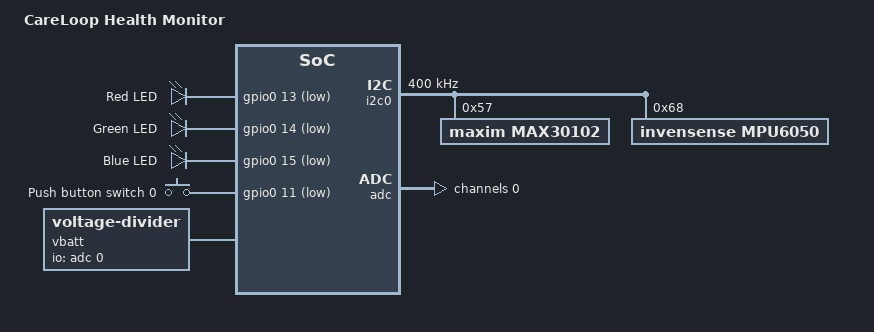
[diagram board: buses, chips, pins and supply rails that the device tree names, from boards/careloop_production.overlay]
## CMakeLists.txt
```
cmake_minimum_required(VERSION 3.20.0)

# Set the DTS root to include our custom bindings
set(DTS_ROOT ${CMAKE_CURRENT_SOURCE_DIR})

find_package(Zephyr REQUIRED HINTS $ENV{ZEPHYR_BASE})

project(CareLoop)

# Main application sources
target_sources(app PRIVATE 
    src/main.c
)

# ----------------------------------------
# HAL - Hardware Abstraction Layer sources
# ----------------------------------------

if(CONFIG_MPU6050)
    # Only build MPU6050 adapter and driver when enabled
    target_sources(app PRIVATE
        src/hal/sensor/hal_mpu6050.c
    )
endif()

if(CONFIG_MAX30102)
    # Only build MAX30102 adapter and driver when enabled
    target_sources(app PRIVATE 
        src/hal/sensor/hal_max30102.c
        src/drivers/sensor/max30102/max30102.c
    )
    target_include_directories(app PRIVATE src/drivers/sensor/max30102)
endif()

# Common HAL sources
target_sources(app PRIVATE
    src/hal/hal_sensor.c
)

# HAL include directories
target_include_directories(app PRIVATE 
    src/hal/include
)

# ----------------------------------------
# Business logic sources (C++)
# ----------------------------------------

target_sources(app PRIVATE src/business/heart_rate.cpp)
target_include_directories(app PRIVATE src/business/include)
```

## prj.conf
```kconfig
# Absolutely minimal CareLoop Configuration for NCS

# Only enable what's absolutely necessary
CONFIG_LOG=y
CONFIG_LOG_DEFAULT_LEVEL=3
CONFIG_CONSOLE=y
CONFIG_UART_CONSOLE=y
CONFIG_SERIAL=y

# Sensor subsystem
CONFIG_SENSOR=y
CONFIG_I2C=y

# MAX30102 Heart Rate Sensor
CONFIG_MAX30102=y

# MPU6050 Motion Sensor (Zephyr built-in driver)
CONFIG_MPU6050=y

# HAL Test Application (uncomment to test HAL)
# CONFIG_HAL_TEST=y

# Enable float formatting in logging (cbprintf) so %f works in LOG_*
CONFIG_CBPRINTF_FP_SUPPORT=y
```

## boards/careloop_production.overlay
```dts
/*
 * CareLoop Production Device Tree Overlay for NCS
 * Copyright (c) 2024 Nordic Semiconductor ASA
 * SPDX-License-Identifier: Apache-2.0
 */

/ {
    model = "CareLoop Health Monitor";
    
    aliases {
        led0 = &led0;  /* Red LED */
        led1 = &led1;  /* Green LED */
        led2 = &led2;  /* Blue LED */
        sw0 = &button0;
    };

    leds {
        compatible = "gpio-leds";
        led0: led_0 {
            gpios = <&gpio0 13 GPIO_ACTIVE_LOW>;
            label = "Red LED";
        };
        led1: led_1 {
            gpios = <&gpio0 14 GPIO_ACTIVE_LOW>;
            label = "Green LED";
        };
        led2: led_2 {
            gpios = <&gpio0 15 GPIO_ACTIVE_LOW>;
            label = "Blue LED";
        };
    };

    buttons {
        compatible = "gpio-keys";
        button0: button_0 {
            gpios = <&gpio0 11 (GPIO_PULL_UP | GPIO_ACTIVE_LOW)>;
            label = "Push button switch 0";
        };
    };

    /* Power supply configuration */
    vbatt {
        compatible = "voltage-divider";
        io-channels = <&adc 0>;
        output-ohms = <100000>;
        full-ohms = <(100000 + 100000)>;
    };
};

&i2c0 {
    compatible = "nordic,nrf-twi";
    status = "okay";
    clock-frequency = <I2C_BITRATE_FAST>;

    /* MAX30102 Heart Rate Sensor */
    max30102@57 {
        compatible = "maxim,max30102";
        reg = <0x57>;
        label = "MAX30102";
    };

    /* MPU6050 Accelerometer/Gyroscope */
    mpu6050@68 {
        compatible = "invensense,mpu6050";
        reg = <0x68>;
        label = "MPU6050";
    };
};

&adc {
    status = "okay";
    #address-cells = <1>;
    #size-cells = <0>;

    channel@0 {
        reg = <0>;
        zephyr,gain = "ADC_GAIN_1_6";
        zephyr,reference = "ADC_REF_INTERNAL";
        zephyr,acquisition-time = <ADC_ACQ_TIME_DEFAULT>;
        zephyr,input-positive = <NRF_SAADC_VDD>;
        zephyr,resolution = <12>;
    };
};
```

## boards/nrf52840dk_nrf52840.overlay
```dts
/*
 * CareLoop Production Device Tree Overlay for NCS
 * Copyright (c) 2024 Nordic Semiconductor ASA
 * SPDX-License-Identifier: Apache-2.0
 */

/ {
    model = "CareLoop Health Monitor";
    
    aliases {
        led0 = &led0;  /* Red LED */
        led1 = &led1;  /* Green LED */
        led2 = &led2;  /* Blue LED */
        sw0 = &button0;
    };

    leds {
        compatible = "gpio-leds";
        led0: led_0 {
            gpios = <&gpio0 13 GPIO_ACTIVE_LOW>;
            label = "Red LED";
        };
        led1: led_1 {
            gpios = <&gpio0 14 GPIO_ACTIVE_LOW>;
            label = "Green LED";
        };
        led2: led_2 {
            gpios = <&gpio0 15 GPIO_ACTIVE_LOW>;
            label = "Blue LED";
        };
    };

    buttons {
        compatible = "gpio-keys";
        button0: button_0 {
            gpios = <&gpio0 11 (GPIO_PULL_UP | GPIO_ACTIVE_LOW)>;
            label = "Push button switch 0";
        };
    };

    /* Power supply configuration */
    vbatt {
        compatible = "voltage-divider";
        io-channels = <&adc 0>;
        output-ohms = <100000>;
        full-ohms = <(100000 + 100000)>;
    };
};

&i2c0 {
    compatible = "nordic,nrf-twi";
    status = "okay";
    clock-frequency = <I2C_BITRATE_FAST>;

    /* MAX30102 Heart Rate Sensor */
    max30102: max30102@57 {
        compatible = "maxim,max30102";
        reg = <0x57>;
        label = "MAX30102";
        status = "okay";
        
        /* Driver configuration properties */
        sample-rate = <100>;        /* 100 Hz sampling */
        led-current-red = <63>;     /* 0x3F = ~27mA */
        led-current-ir = <63>;      /* 0x3F = ~27mA */
        adc-range = <4096>;         /* 4096 nA range */
        pulse-width = <411>;        /* 411 μs pulse width */
    };

    mpu6050: mpu6050@68 {
        compatible = "invensense,mpu6050";
        reg = <0x68>;
        status = "okay";
    };
};

&adc {
    status = "okay";
    #address-cells = <1>;
    #size-cells = <0>;

    channel@0 {
        reg = <0>;
        zephyr,gain = "ADC_GAIN_1_6";
        zephyr,reference = "ADC_REF_INTERNAL";
        zephyr,acquisition-time = <ADC_ACQ_TIME_DEFAULT>;
        zephyr,input-positive = <NRF_SAADC_VDD>;
        zephyr,resolution = <12>;
    };
};
```

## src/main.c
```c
/*
 * CareLoop - Minimal HAL Heart Rate Monitor
 * Copyright (c) 2024
 * SPDX-License-Identifier: Apache-2.0
 */

#include <zephyr/kernel.h>
#include <zephyr/logging/log.h>
#include <stdlib.h>
#include "hal_sensor.h"

/* Device-specific HAL adapters register via hal_sensor_system_init() */

/* MPU6050 now accessed via HAL (accel + gyro logical sensors) */

LOG_MODULE_REGISTER(careloop, LOG_LEVEL_INF);

static inline void log_vec_scaled(const char *tag, float mag, float x, float y, float z)
{
    int32_t mag_m = (int32_t)(mag * 1000.0f);
    int32_t x_m = (int32_t)(x * 1000.0f);
    int32_t y_m = (int32_t)(y * 1000.0f);
    int32_t z_m = (int32_t)(z * 1000.0f);
    LOG_INF("%s mag=%d.%03d x=%d.%03d y=%d.%03d z=%d.%03d",
            tag,
            (int)(mag_m / 1000), (int)abs(mag_m % 1000),
            (int)(x_m / 1000), (int)abs(x_m % 1000),
            (int)(y_m / 1000), (int)abs(y_m % 1000),
            (int)(z_m / 1000), (int)abs(z_m % 1000));
}

int main(void)
{
    LOG_INF("CareLoop HAL Heart Rate Monitor");
    
    hal_error_t ret;
    hal_sensor_t *hr_sensor;
    hal_sensor_t *accel_sensor;
    hal_sensor_t *gyro_sensor;
    hal_sensor_reading_t reading;
    
    /* Initialize sensor subsystem (register + init) */
    ret = hal_sensor_system_init();
    if (ret != HAL_OK) {
        LOG_ERR("Sensor system init failed: %d", ret);
        return -1;
    }
    
    /* Get heart rate sensor */
    hr_sensor = hal_sensor_get(HAL_SENSOR_TYPE_HEART_RATE);
    if (!hr_sensor) {
        LOG_ERR("No heart rate sensor found");
        return -1;
    }
    accel_sensor = hal_sensor_get(HAL_SENSOR_TYPE_ACCEL);
    gyro_sensor = hal_sensor_get(HAL_SENSOR_TYPE_GYRO);
    if (!accel_sensor || !gyro_sensor) {
        LOG_WRN("ACCEL or GYRO sensors not available");
    }
    
    LOG_INF("Heart rate sensor ready");
    
    /* Main reading loop */
    while (1) {
        ret = hr_sensor->ops->read(&reading);
        if (ret == HAL_OK) {
            if (reading.quality >= HAL_QUALITY_FAIR) {
                LOG_INF("HR: %d (Q:%d%%)", reading.raw_value, reading.quality);
            }
        }
        if (accel_sensor && accel_sensor->ops->read) {
            if (accel_sensor->ops->read(&reading) == HAL_OK) {
                log_vec_scaled("ACC", reading.value, reading.x, reading.y, reading.z);
            }
        }
        if (gyro_sensor && gyro_sensor->ops->read) {
            if (gyro_sensor->ops->read(&reading) == HAL_OK) {
                log_vec_scaled("GYR", reading.value, reading.x, reading.y, reading.z);
            }
        }

        k_sleep(K_MSEC(200));
    }
    
    return 0;
}
```
